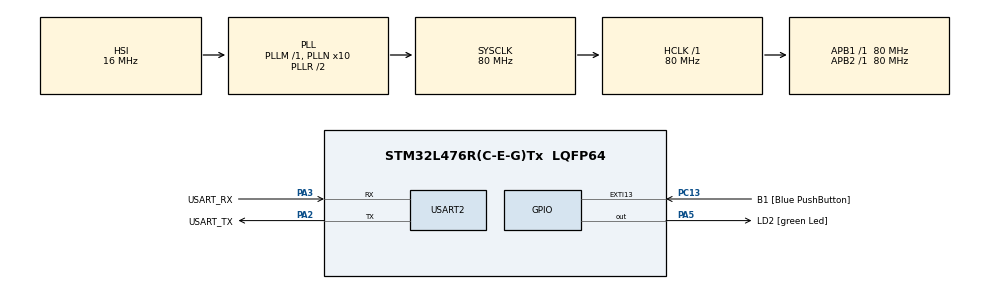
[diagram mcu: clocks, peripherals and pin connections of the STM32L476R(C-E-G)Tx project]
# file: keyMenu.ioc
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Mcu.Family=STM32L4
Mcu.Name=STM32L476R(C-E-G)Tx
Mcu.Package=LQFP64
NVIC.PriorityGroup=NVIC_PRIORITYGROUP_4
NVIC.USART2_IRQn=true\:0\:0\:false\:false\:true\:true\:true\:true
PA13\ (JTMS-SWDIO).GPIO_Label=TMS
PA13\ (JTMS-SWDIO).Signal=SYS_JTMS-SWDIO
PA14\ (JTCK-SWCLK).GPIO_Label=TCK
PA14\ (JTCK-SWCLK).Signal=SYS_JTCK-SWCLK
PA2.GPIO_Label=USART_TX
PA2.GPIO_Mode=GPIO_MODE_AF_PP
PA2.GPIO_PuPd=GPIO_NOPULL
PA2.GPIO_Speed=GPIO_SPEED_FREQ_VERY_HIGH
PA2.Mode=Asynchronous
PA2.Signal=USART2_TX
PA3.GPIO_Label=USART_RX
PA3.GPIO_Mode=GPIO_MODE_AF_PP
PA3.GPIO_PuPd=GPIO_NOPULL
PA3.GPIO_Speed=GPIO_SPEED_FREQ_VERY_HIGH
PA3.Mode=Asynchronous
PA3.Signal=USART2_RX
PA5.GPIO_Label=LD2 [green Led]
PA5.GPIO_ModeDefaultOutputPP=GPIO_MODE_OUTPUT_PP
PA5.GPIO_PuPd=GPIO_NOPULL
PA5.GPIO_Speed=GPIO_SPEED_FREQ_LOW
PA5.Signal=GPIO_Output
PB3\ (JTDO-TRACESWO).GPIO_Label=SWO
PB3\ (JTDO-TRACESWO).Signal=SYS_JTDO-SWO
PC13.GPIO_Label=B1 [Blue PushButton]
PC13.GPIO_ModeDefaultEXTI=GPIO_MODE_IT_FALLING
PC13.GPIO_PuPd=GPIO_NOPULL
PC13.Signal=GPXTI13
PC14-OSC32_IN\ (PC14).Signal=RCC_OSC32_IN
PC15-OSC32_OUT\ (PC15).Signal=RCC_OSC32_OUT
PH0-OSC_IN\ (PH0).Signal=RCC_OSC_IN
PH1-OSC_OUT\ (PH1).Signal=RCC_OSC_OUT
ProjectManager.HeapSize=0x200
ProjectManager.StackSize=0x400
ProjectManager.TargetToolchain=STM32CubeIDE
RCC.ADCFreq_Value=64000000
RCC.AHBFreq_Value=80000000
RCC.APB1Freq_Value=80000000
RCC.APB1TimFreq_Value=80000000
RCC.APB2Freq_Value=80000000
RCC.APB2TimFreq_Value=80000000
RCC.CortexFreq_Value=80000000
RCC.HCLKFreq_Value=80000000
RCC.HSE_VALUE=8000000
RCC.HSI_VALUE=16000000
RCC.LSE_VALUE=32768
RCC.MSI_VALUE=4000000
RCC.PLLN=10
RCC.PLLSourceVirtual=RCC_PLLSOURCE_HSI
RCC.PREFETCH_ENABLE=1
RCC.SYSCLKFreq_VALUE=80000000
RCC.SYSCLKSource=RCC_SYSCLKSOURCE_PLLCLK
RCC.USBFreq_Value=64000000
RCC.VCOOutputFreq_Value=160000000
USART2.VirtualMode-Asynchronous=VM_ASYNC
board=NUCLEO-L476RG

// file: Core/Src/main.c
/* USER CODE BEGIN Header */
/**
  ******************************************************************************
  * @file           : main.c
  * @brief          : Main program body
  ******************************************************************************
  * @attention
  *
  * Copyright (c) 2026 STMicroelectronics.
  * All rights reserved.
  *
  * This software is licensed under terms that can be found in the LICENSE file
  * in the root directory of this software component.
  * If no LICENSE file comes with this software, it is provided AS-IS.
  *
  ******************************************************************************
  */
/* USER CODE END Header */
#include "main.h"

/* USER CODE BEGIN Includes */
#include <stdio.h>
#include <string.h>
/* USER CODE END Includes */

/* USER CODE BEGIN PTD */
enum dStates {PARK, REVERSE, NEUTRAL, DRIVE};	/* enumeration of states (C programming, p) */
/* USER CODE END PTD */

UART_HandleTypeDef huart2;

void SystemClock_Config(void);
static void MX_GPIO_Init(void);
static void MX_USART2_UART_Init(void);

/* USER CODE BEGIN 0 */
char text[1]; // This variable holds the new character;
char request[10]; // This variable holds the typed request
int charIndex = 0; // This variable keeps track of how many characters are in request
int textEntryDone = 0; // when the request is completed, we check it
/* USER CODE END 0 */

int main(void)
{

  /* USER CODE BEGIN 1 */
	int dState = PARK;  // drive state allocated and initialized to park
	uint8_t gear[22];  // null or \0 is added during the initialization
  /* USER CODE END 1 */

  /* MCU Configuration--------------------------------------------------------*/

  /* Reset of all peripherals, Initializes the Flash interface and the Systick. */
  HAL_Init();

  /* Configure the system clock */
  SystemClock_Config();

  /* Initialize all configured peripherals */
  MX_GPIO_Init();
  MX_USART2_UART_Init();
  /* USER CODE BEGIN 2 */
  HAL_UART_Receive_IT (&huart2, (uint8_t*)text, 1);  // Prepare for a callback after 1 byte
  /* USER CODE END 2 */

  /* Infinite loop */
  /* USER CODE BEGIN WHILE */
  while (1)
  {
	  HAL_GPIO_TogglePin(GPIOA, GPIO_PIN_5); // Toggle the green LED
	  	  HAL_Delay(250); // Wait a quarter of a second
	  	  if (textEntryDone ) {
	  		  textEntryDone = 0;
	  		  switch (request[0]) {
	  		  case 'p': case 'P':
	  		  	dState = PARK;
	  		  	strcpy((char*)gear, "Park\r\n");
	  		  	break;
	  		  case 'r': case 'R':
	  		  	dState = REVERSE;
	  		  	strcpy((char*)gear, "Reverse\r\n");
	  		  	break;
	  		  case 'n': case 'N':
	  		  	dState = NEUTRAL;
	  		  	strcpy((char*)gear, "Neutral\r\n");
	  		  	break;
	  		  case 'd': case 'D':
	  		    dState = DRIVE;
	  		  	strcpy((char*)gear, "Drive\r\n");
	  		  	break;
	  		  default:
	  		  	strcpy((char*)gear, "Something is wrong\r\n");  // In this case, this should not ever be executed. Try misspelling one of the states...(the compiler will catch that).
	  		  	break;
	  		  }
	  		  	  HAL_UART_Transmit(&huart2, (uint8_t*)gear, strlen((char*)gear), HAL_MAX_DELAY);
	  	 }
    /* USER CODE END WHILE */

  }
}

void SystemClock_Config(void)
{
  RCC_OscInitTypeDef RCC_OscInitStruct = {0};
  RCC_ClkInitTypeDef RCC_ClkInitStruct = {0};

  /** Configure the main internal regulator output voltage
  */
  if (HAL_PWREx_ControlVoltageScaling(PWR_REGULATOR_VOLTAGE_SCALE1) != HAL_OK)
  {
    Error_Handler();
  }

  /** Initializes the RCC Oscillators according to the specified parameters
  * in the RCC_OscInitTypeDef structure.
  */
  RCC_OscInitStruct.OscillatorType = RCC_OSCILLATORTYPE_HSI;
  RCC_OscInitStruct.HSIState = RCC_HSI_ON;
  RCC_OscInitStruct.HSICalibrationValue = RCC_HSICALIBRATION_DEFAULT;
  RCC_OscInitStruct.PLL.PLLState = RCC_PLL_ON;
  RCC_OscInitStruct.PLL.PLLSource = RCC_PLLSOURCE_HSI;
  RCC_OscInitStruct.PLL.PLLM = 1;
  RCC_OscInitStruct.PLL.PLLN = 10;
  RCC_OscInitStruct.PLL.PLLP = RCC_PLLP_DIV7;
  RCC_OscInitStruct.PLL.PLLQ = RCC_PLLQ_DIV2;
  RCC_OscInitStruct.PLL.PLLR = RCC_PLLR_DIV2;
  if (HAL_RCC_OscConfig(&RCC_OscInitStruct) != HAL_OK)
  {
    Error_Handler();
  }

  /** Initializes the CPU, AHB and APB buses clocks
  */
  RCC_ClkInitStruct.ClockType = RCC_CLOCKTYPE_HCLK|RCC_CLOCKTYPE_SYSCLK
                              |RCC_CLOCKTYPE_PCLK1|RCC_CLOCKTYPE_PCLK2;
  RCC_ClkInitStruct.SYSCLKSource = RCC_SYSCLKSOURCE_PLLCLK;
  RCC_ClkInitStruct.AHBCLKDivider = RCC_SYSCLK_DIV1;
  RCC_ClkInitStruct.APB1CLKDivider = RCC_HCLK_DIV1;
  RCC_ClkInitStruct.APB2CLKDivider = RCC_HCLK_DIV1;

  if (HAL_RCC_ClockConfig(&RCC_ClkInitStruct, FLASH_LATENCY_4) != HAL_OK)
  {
    Error_Handler();
  }
}

static void MX_USART2_UART_Init(void)
{

  huart2.Instance = USART2;
  huart2.Init.BaudRate = 115200;
  huart2.Init.WordLength = UART_WORDLENGTH_8B;
  huart2.Init.StopBits = UART_STOPBITS_1;
  huart2.Init.Parity = UART_PARITY_NONE;
  huart2.Init.Mode = UART_MODE_TX_RX;
  huart2.Init.HwFlowCtl = UART_HWCONTROL_NONE;
  huart2.Init.OverSampling = UART_OVERSAMPLING_16;
  huart2.Init.OneBitSampling = UART_ONE_BIT_SAMPLE_DISABLE;
  huart2.AdvancedInit.AdvFeatureInit = UART_ADVFEATURE_NO_INIT;
  if (HAL_UART_Init(&huart2) != HAL_OK)
  {
    Error_Handler();
  }

}

static void MX_GPIO_Init(void)
{
  GPIO_InitTypeDef GPIO_InitStruct = {0};

  /* GPIO Ports Clock Enable */
  __HAL_RCC_GPIOC_CLK_ENABLE();
  __HAL_RCC_GPIOH_CLK_ENABLE();
  __HAL_RCC_GPIOA_CLK_ENABLE();
  __HAL_RCC_GPIOB_CLK_ENABLE();

  /*Configure GPIO pin Output Level */
  HAL_GPIO_WritePin(LD2_GPIO_Port, LD2_Pin, GPIO_PIN_RESET);

  /*Configure GPIO pin : B1_Pin */
  GPIO_InitStruct.Pin = B1_Pin;
  GPIO_InitStruct.Mode = GPIO_MODE_IT_FALLING;
  GPIO_InitStruct.Pull = GPIO_NOPULL;
  HAL_GPIO_Init(B1_GPIO_Port, &GPIO_InitStruct);

  /*Configure GPIO pin : LD2_Pin */
  GPIO_InitStruct.Pin = LD2_Pin;
  GPIO_InitStruct.Mode = GPIO_MODE_OUTPUT_PP;
  GPIO_InitStruct.Pull = GPIO_NOPULL;
  GPIO_InitStruct.Speed = GPIO_SPEED_FREQ_LOW;
  HAL_GPIO_Init(LD2_GPIO_Port, &GPIO_InitStruct);

}

/* USER CODE BEGIN 4 */
void HAL_UART_RxCpltCallback(UART_HandleTypeDef *huart)
{
  HAL_UART_Receive_IT(&huart2, (uint8_t*)text, 1);		// Prepare for a callback after 1 byte
  if (!textEntryDone) {  // this check is to prevent that new text is entered until it has been processed in main()
    if (text[0] == '\r') {
	    textEntryDone = 1;
	    charIndex = 0;
    }
    else {
	    request[charIndex++] = text[0];
	    if (charIndex > 9) {
	   	  charIndex = 0;
	    }
	    request[charIndex] = '\0';
    }
  }

}
/* USER CODE END 4 */

void Error_Handler(void)
{
  __disable_irq();
  while (1)
  {
  }
}
